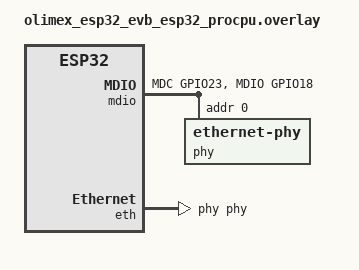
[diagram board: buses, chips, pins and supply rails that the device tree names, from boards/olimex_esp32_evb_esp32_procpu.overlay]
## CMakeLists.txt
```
# @file      CMakeLists.txt
# @brief     mender-mcu FreeRTOS/ESP-IDF example project
#
# Copyright Northern.tech AS
#
# Licensed under the Apache License, Version 2.0 (the "License");
# you may not use this file except in compliance with the License.
# You may obtain a copy of the License at
#
#     http://www.apache.org/licenses/LICENSE-2.0
#
# Unless required by applicable law or agreed to in writing, software
# distributed under the License is distributed on an "AS IS" BASIS,
# WITHOUT WARRANTIES OR CONDITIONS OF ANY KIND, either express or implied.
# See the License for the specific language governing permissions and
# limitations under the License.

# Minimum requirement for ESP-IDF >= 6.0, see
# https://docs.espressif.com/projects/esp-idf/en/latest/esp32/migration-guides/release-6.x/6.0/tools.html
cmake_minimum_required(VERSION 3.22.1)

include($ENV{IDF_PATH}/tools/cmake/project.cmake)
project(mender-mcu-freertos-example)
```

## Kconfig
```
mainmenu "Mender Reference App"

menu "Mender Reference App"

menuconfig WIFI
bool "Mender App WIFI Configuration"
default n

if WIFI
	config MENDER_APP_WIFI_SSID
		string "WIFI SSID - Network name"
		default "my_network"

	config MENDER_APP_WIFI_PSK
		string "WIFI PSK - Network password key"
		default "secret_passwd"

endif # WIFI

	config MENDER_APP_NOOP_UPDATE_MODULE
		bool "Enable no-op Update Module"
		default n
		help
			An Update Module that does nothing. Useful for inspiration on how to get started writing
			your update module, as an alternative to the built-in zephyr-image Update module configured
			with MENDER_ZEPHYR_IMAGE_UPDATE_MODULE

	config MENDER_APP_SERVER_HOST_ON_PREM_CERT
		string "Path to the DER formatted Mender Server Certificate. Relative to mender-mcu-integration"
		default ""
		help
			When in combination with MENDER_SERVER_HOST_ON_PREM, the Mender Reference App
			will add this credential as the MENDER_NET_CA_CERTIFICATE_TAG_PRIMARY.

endmenu

# Region-dependent mbedTLS static heap. The EU server chain anchors to a
# cross-signed ISRG Root YR that the device must verify against the pinned
# RSA-4096 ISRG Root X1; that RSA-4096 signature verify needs ~5 KB more heap
# than the US chain (all RSA-2048). Measured worst-case footprint over a full
# OTA: EU ~43.3 KB, US ~37 KB. Undersizing manifests as a TLS handshake
# failure -0x2700 (X509 NOT_TRUSTED) from an INSUFFICIENT_MEMORY verify.
# So give EU the bigger pool and leave everything else at the historical 40960.
#
# NOTE: this MUST come before `source "Kconfig.zephyr"`. configdefault inserts
# its defaults ahead of the ones that already exist when it is parsed (textual
# order); placed after the source, the symbol's built-in unconditional
# `default 512` is seen first and wins. Parsed before the source, our defaults
# take priority (the MENDER_SERVER_HOST_EU condition still resolves, since
# configdefaults are applied only once the whole tree is known).
configdefault MBEDTLS_HEAP_SIZE
	default 49152 if MENDER_SERVER_HOST_EU
	default 40960

source "Kconfig.zephyr"
```

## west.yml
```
manifest:

  remotes:
    - name: zephyrproject-rtos
      url-base: https://github.com/zephyrproject-rtos
    - name: mender
      url-base: https://github.com/mendersoftware

  projects:
    - name: zephyr
      remote: zephyrproject-rtos
      revision: v4.4.0
      import:
        name-allowlist:
          - cmsis_6
          - mbedtls
          - tf-psa-crypto
          - mcuboot
          - hal_nxp
          - hal_nordic
          - hal_espressif
    - name: mender-mcu
      remote: mender
      revision: v1.1.0
      path: modules/mender-mcu
      import: true

  self:
    path: mender-mcu-integration
```

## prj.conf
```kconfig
####################################
# Tenant Token - DO NOT COMMIT
####################################
CONFIG_MENDER_SERVER_TENANT_TOKEN="..."


####################################
# Mender MCU
####################################
CONFIG_MENDER_MCU_CLIENT=y
CONFIG_MENDER_LOG_LEVEL_INF=y
# Demo polling intervals
CONFIG_MENDER_CLIENT_UPDATE_POLL_INTERVAL=30
CONFIG_MENDER_CLIENT_INVENTORY_REFRESH_INTERVAL=60
CONFIG_MENDER_RETRY_ERROR_BACKOFF=5
CONFIG_MENDER_RETRY_ERROR_MAX_BACKOFF=15
# Mender Server selection - sets the Server URL and adds the certificates
CONFIG_MENDER_SERVER_HOST_US=y
# For easier demo, use partition with storage label from Devicetree
CONFIG_MENDER_STORAGE_PARTITION_STORAGE_PARTITION=y


####################################
# Mbed-TLS module configuration
#
# NOTE wrt Ciphersuite configuration for Hosted Mender:
# We use two certificates, one for API calls and one for the Artifacts download:
# -> Amazon Root CA 1 certificate with Signature Algorithm: sha256WithRSAEncryption
# -> Google Trust Services GTS Root R4 with Signature Algorithm: ecdsa-with-SHA384
####################################
CONFIG_MBEDTLS=y

CONFIG_MBEDTLS_CIPHERSUITE_TLS_ECDHE_ECDSA_WITH_AES_128_GCM_SHA256=y
CONFIG_MBEDTLS_CIPHERSUITE_TLS_ECDHE_ECDSA_WITH_AES_256_GCM_SHA384=y
CONFIG_MBEDTLS_CIPHERSUITE_TLS_ECDHE_RSA_WITH_AES_128_GCM_SHA256=y
CONFIG_MBEDTLS_CIPHERSUITE_TLS_ECDHE_RSA_WITH_AES_256_GCM_SHA384=y

# P-256 (the device auth keypair we generate) and P-384 (Google GTS R4 cert
# chain) are only implied by the ciphersuites; request them so a config change
# cannot drop them.
CONFIG_PSA_WANT_ECC_SECP_R1_256=y
CONFIG_PSA_WANT_ECC_SECP_R1_384=y

# PEM_CERTIFICATE_FORMAT split into PARSE/WRITE in 4.x (client reads + writes keys).
CONFIG_MBEDTLS_PEM_PARSE_C=y
CONFIG_MBEDTLS_PEM_WRITE_C=y
CONFIG_MBEDTLS_PK_WRITE_C=y
CONFIG_MBEDTLS_SSL_SERVER_NAME_INDICATION=y

CONFIG_MBEDTLS_SSL_MAX_CONTENT_LEN=16384
CONFIG_MBEDTLS_ENABLE_HEAP=y
# CONFIG_MBEDTLS_HEAP_SIZE is set per region in this app's Kconfig (EU needs a
# larger static pool for its RSA-4096 cert-verify; see the configdefault there).
CONFIG_MBEDTLS_PSA_CRYPTO_C=y
CONFIG_MBEDTLS_PSA_DRIVER_GET_ENTROPY=y
CONFIG_MBEDTLS_ENTROPY_C=y

# We need to use our own extension to the config file to limit the size of the
# TLS output buffer. See the config and/or MEN-7807 for details.
CONFIG_MBEDTLS_USER_CONFIG_FILE="config-tls-mender.h"


####################################
# Zephyr OS general configuration
####################################
# Default is 1024
# https://docs.zephyrproject.org/latest/kconfig.html#CONFIG_MAIN_STACK_SIZE
CONFIG_MAIN_STACK_SIZE=2048
# Default is 1024
# https://docs.zephyrproject.org/latest/kconfig.html#CONFIG_SYSTEM_WORKQUEUE_STACK_SIZE
CONFIG_SYSTEM_WORKQUEUE_STACK_SIZE=4096
# Default is 4
# https://docs.zephyrproject.org/latest/kconfig.html#CONFIG_ZVFS_OPEN_MAX
CONFIG_ZVFS_OPEN_MAX=5

####################################
# Zephyr logging
####################################
CONFIG_LOG=y
CONFIG_LOG_BUFFER_SIZE=2048
# CONFIG_LOG_MODE_IMMEDIATE=y
CONFIG_LOG_MODE_DEFERRED=y
# flush oldest messages in the buffer; this will print the newest messages in case of buffer overflow
CONFIG_LOG_MODE_OVERFLOW=y
# speed up the logging; size of the executable the victim (use for testing only)
CONFIG_LOG_SPEED=y
# Direct dependency for LOG_OUTPUT_FORMAT_ISO8601_TIMESTAMP
CONFIG_POSIX_C_LANG_SUPPORT_R=y
# use ISO 8601 timestamp format in logs (required by the Mender Deployment Logs feature)
CONFIG_LOG_OUTPUT_FORMAT_ISO8601_TIMESTAMP=y

####################################
# Networking
####################################
# IP / DHCP
CONFIG_NET_IPV6=n
CONFIG_NET_IPV4=y
CONFIG_NET_DHCPV4=y
# Network event notifications
CONFIG_NET_MGMT=y
CONFIG_NET_MGMT_EVENT=y
CONFIG_NET_MGMT_EVENT_STACK_SIZE=2048
# Enable TLS
CONFIG_NET_SOCKETS_SOCKOPT_TLS=y
CONFIG_NET_SOCKETS_TLS_MAX_CONTEXTS=2
CONFIG_NET_MAX_CONN=16
# DNS configuration
CONFIG_DNS_RESOLVER_ADDITIONAL_BUF_CTR=5
CONFIG_DNS_RESOLVER_ADDITIONAL_QUERIES=2
CONFIG_DNS_RESOLVER_MAX_SERVERS=2
CONFIG_DNS_NUM_CONCUR_QUERIES=5
# Avoid timeouts before receiving SYN-ACK from peer at default value (3000)
CONFIG_NET_SOCKETS_CONNECT_TIMEOUT=5000

####################################
# Developer zone
####################################
# Coredumps
# https://docs.zephyrproject.org/latest/services/debugging/coredump.html
# CONFIG_DEBUG_COREDUMP=y
# CONFIG_DEBUG_COREDUMP_BACKEND_LOGGING=y
# CONFIG_DEBUG_COREDUMP_MEMORY_DUMP_LINKER_RAM=n
# CONFIG_DEBUG_COREDUMP_MEMORY_DUMP_MIN=y
# Asserts
# https://docs.zephyrproject.org/latest/kconfig.html#CONFIG_ASSERT_VERBOSE
CONFIG_ASSERT=y
# CONFIG_ASSERT_VERBOSE=y
# CONFIG_PICOLIBC_USE_MODULE=y
# CONFIG_PICOLIBC_ASSERT_VERBOSE=y
# Useful logs from networking subsystem
CONFIG_NET_LOG=y

# Let's prevent surprises caused by type mismatches and other similar things
# only causing compilation warnings, but potentially leading to fatal issues.
CONFIG_COMPILER_WARNINGS_AS_ERRORS=y

# When enabled it adds ~3k overhead and causes sys_reboot to fail
# because of stricter spinlock validation in Zephyr 4.2.0
CONFIG_SPIN_VALIDATE=n
```

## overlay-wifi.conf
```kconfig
CONFIG_WIFI=y
CONFIG_MENDER_APP_WIFI_SSID="..."
CONFIG_MENDER_APP_WIFI_PSK="..."
```

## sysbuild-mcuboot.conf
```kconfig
# Sysbuild configuration file: enable MCUboot
SB_CONFIG_BOOTLOADER_MCUBOOT=y
# Enable swap algorithm so we can revert in
# case of a rollback
SB_CONFIG_MCUBOOT_MODE_SWAP_USING_MOVE=y
```

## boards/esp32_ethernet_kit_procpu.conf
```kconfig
####################################
# ESP32 Ethernet
####################################
CONFIG_ETH_ESP32=y
CONFIG_NET_L2_ETHERNET=y

# Linking errors when enabled
CONFIG_ESP_SPIRAM=n
```

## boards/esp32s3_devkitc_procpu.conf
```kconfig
CONFIG_NET_L2_ETHERNET=y
CONFIG_ESP32_WIFI_STA_AUTO_DHCPV4=y
CONFIG_WIFI=y
CONFIG_WIFI_LOG_LEVEL_ERR=y

# Restore the default for Mender storage
# We set to use the storage label for the rest of the boards in this sample application,
# but for the ESP32S3 we do provide an overlay to use the mender label, which is what
# we recommend to users (and set as default in mender-mcu Kconfig)
CONFIG_MENDER_STORAGE_PARTITION_STORAGE_PARTITION=n
CONFIG_MENDER_STORAGE_PARTITION_MENDER_PARTITION=y
```

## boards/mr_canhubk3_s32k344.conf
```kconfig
####################################
# Replace default Update Module
####################################
CONFIG_MENDER_ZEPHYR_IMAGE_UPDATE_MODULE=n
CONFIG_MENDER_APP_NOOP_UPDATE_MODULE=y

####################################
# Use test RNG_GENERATOR
####################################
CONFIG_TEST_RANDOM_GENERATOR=y
```

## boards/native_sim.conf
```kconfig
####################################
# Native sim
####################################
CONFIG_MENDER_ZEPHYR_IMAGE_UPDATE_MODULE=n
CONFIG_MENDER_APP_NOOP_UPDATE_MODULE=y
CONFIG_MENDER_ARTIFACT_GENERATE=n
```

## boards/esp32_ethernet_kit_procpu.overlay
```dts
&eth {
       status = "okay";
};

&phy {
       status = "okay";
};

&mdio {
       status = "okay";
};
```

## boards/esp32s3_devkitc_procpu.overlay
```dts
&wifi {
	status = "okay";
};

&flash0 {
	partitions {
		compatible = "fixed-partitions";
		#address-cells = <1>;
		#size-cells = <1>;

		/*
		  An extra partition starting right after the last partition defined in
		  the board's device tree (actually shared by 8M Espressif boards, at
		  zephyr/dts/common/espressif/partitions_0x0_default_8M.dtsi).
		  WARNING: Needs to be made bigger if more sectors or a non-zero sector
		           offset are to be used.
		*/
		mender_partition: partition@7F1000 {
			label = "mender-partition";
			reg = <0x7F1000 DT_SIZE_K(16)>;
		};
	};
};
```

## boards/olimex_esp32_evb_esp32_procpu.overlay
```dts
&mdio {
    pinctrl-0 = <&mdio_default>;
    pinctrl-names = "default";

    phy: ethernet-phy@0 {
        compatible = "ethernet-phy";
        status = "okay";
        reg = <0>;
    };
    status = "okay";
};

&phy {
    status = "okay";
};

&eth {
    phy-handle = <&phy>;
    status = "okay";
};

&pinctrl {
    mdio_default: mdio_default {
        group1 {
            pinmux = <SMI_MDC_GPIO23>,
                 <SMI_MDIO_GPIO18>;
        };
    };
};
```

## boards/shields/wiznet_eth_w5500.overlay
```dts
/* This overlay is based on ARCELI W5500 ETH,
 * changing the pinout for the WIZNet produced shield.
 *
 * See schematic at:
 * https://docs.wiznet.io/Product/Open-Source-Hardware/w5500_ethernet_shield#technical-reference
 */

&arduino_spi {
	status = "okay";

	eth_w5500_arceli_eth_w5500: eth_w5500@0 {
		compatible = "wiznet,w5500";
		reg = <0x0>;
		spi-max-frequency = <14000000>;
		int-gpios = <&arduino_header 8 GPIO_ACTIVE_LOW>;	/* D2 */

		/* *************************** */
		/* Write here your MAC address */
		/* *************************** */
		local-mac-address = [ DE AD BE EF FE ED ];
	};
};
```

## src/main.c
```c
// Copyright 2024 Northern.tech AS
//
//    Licensed under the Apache License, Version 2.0 (the "License");
//    you may not use this file except in compliance with the License.
//    You may obtain a copy of the License at
//
//        http://www.apache.org/licenses/LICENSE-2.0
//
//    Unless required by applicable law or agreed to in writing, software
//    distributed under the License is distributed on an "AS IS" BASIS,
//    WITHOUT WARRANTIES OR CONDITIONS OF ANY KIND, either express or implied.
//    See the License for the specific language governing permissions and
//    limitations under the License.

#include <zephyr/logging/log.h>
LOG_MODULE_REGISTER(mender_app, LOG_LEVEL_DBG);

#include "utils/callbacks.h"
#include "utils/netup.h"
#include "utils/certs.h"

#include <zephyr/kernel.h>
#include <zephyr/sys/reboot.h>

#include <mender/utils.h>
#include <mender/client.h>
#include <mender/inventory.h>

#ifdef BUILD_INTEGRATION_TESTS
#include "modules/test-update-module.h"
#include "test_definitions.h"
#endif /* BUILD_INTEGRATION_TESTS */

#ifdef CONFIG_MENDER_ZEPHYR_IMAGE_UPDATE_MODULE
#include <mender/zephyr-image-update-module.h>
#endif /* CONFIG_MENDER_ZEPHYR_IMAGE_UPDATE_MODULE */

#ifdef CONFIG_MENDER_APP_NOOP_UPDATE_MODULE
#include "modules/noop-update-module.h"
#endif /* CONFIG_MENDER_APP_NOOP_UPDATE_MODULE */

#ifdef CONFIG_MENDER_CLIENT_INVENTORY_DISABLE
#error Mender MCU integration app requires the inventory feature
#endif /* CONFIG_MENDER_CLIENT_INVENTORY_DISABLE */

MENDER_FUNC_WEAK mender_err_t
mender_network_connect_cb(void) {
    LOG_DBG("network_connect_cb");
    return MENDER_OK;
}

MENDER_FUNC_WEAK mender_err_t
mender_network_release_cb(void) {
    LOG_DBG("network_release_cb");
    return MENDER_OK;
}

MENDER_FUNC_WEAK mender_err_t
mender_deployment_status_cb(mender_deployment_status_t status, const char *desc) {
    LOG_DBG("deployment_status_cb: %s", desc);
    return MENDER_OK;
}

MENDER_FUNC_WEAK mender_err_t
mender_restart_cb(void) {
    LOG_DBG("restart_cb");

    sys_reboot(SYS_REBOOT_WARM);

    return MENDER_OK;
}

static char              mac_address[18] = { 0 };
static mender_identity_t mender_identity = { .name = "mac", .value = mac_address };

MENDER_FUNC_WEAK mender_err_t
mender_get_identity_cb(const mender_identity_t **identity) {
    LOG_DBG("get_identity_cb");
    if (NULL != identity) {
        *identity = &mender_identity;
        return MENDER_OK;
    }
    return MENDER_FAIL;
}

static mender_err_t
persistent_inventory_cb(mender_keystore_t **keystore, uint8_t *keystore_len) {
    static mender_keystore_t inventory[] = { { .name = "App", .value = "mender-mcu-integration" } };
    *keystore                            = inventory;
    *keystore_len                        = 1;
    return MENDER_OK;
}

int
main(void) {
    printf("Hello World! %s %s\n", CONFIG_MENDER_ARTIFACT_NAME,CONFIG_BOARD_TARGET);

    netup_wait_for_network();

    netup_get_mac_address(mender_identity.value);

    certs_add_credentials();

    /* Initialize mender-client */
    mender_client_config_t    mender_client_config    = { .device_type = CONFIG_MENDER_DEVICE_TYPE, .recommissioning = false };
    mender_client_callbacks_t mender_client_callbacks = { .network_connect        = mender_network_connect_cb,
                                                          .network_release        = mender_network_release_cb,
                                                          .deployment_status      = mender_deployment_status_cb,
                                                          .restart                = mender_restart_cb,
                                                          .get_identity           = mender_get_identity_cb,
                                                          .get_user_provided_keys = NULL };

    LOG_INF("Initializing Mender Client with:");
    LOG_INF("   Device type:   '%s'", mender_client_config.device_type);
    LOG_INF("   Identity:      '{\"%s\": \"%s\"}'", mender_identity.name, mender_identity.value);

    if (MENDER_OK != mender_client_init(&mender_client_config, &mender_client_callbacks)) {
        LOG_ERR("Failed to initialize the client");
        goto END;
    }
    LOG_INF("Mender client initialized");

#ifdef CONFIG_MENDER_ZEPHYR_IMAGE_UPDATE_MODULE
    if (MENDER_OK != mender_zephyr_image_register_update_module()) {
        LOG_ERR("Failed to register the zephyr-image Update Module");
        goto END;
    }
    LOG_INF("Update Module 'zephyr-image' initialized");
#endif /* CONFIG_MENDER_ZEPHYR_IMAGE_UPDATE_MODULE */

#ifdef CONFIG_MENDER_APP_NOOP_UPDATE_MODULE
    if (MENDER_OK != noop_update_module_register()) {
        LOG_ERR("Failed to register the noop Update Module");
        goto END;
    }
    LOG_INF("Update Module 'noop-update' initialized");
#endif /* CONFIG_MENDER_APP_NOOP_UPDATE_MODULE */

#ifdef BUILD_INTEGRATION_TESTS
    if (MENDER_OK != test_update_module_register()) {
        LOG_ERR("Failed to register the test Update Module");
        goto END;
    }
    LOG_INF("Update Module 'test-update' initialized");
#endif /* BUILD_INTEGRATION_TESTS */

    if (MENDER_OK != mender_inventory_add_callback(persistent_inventory_cb, true)) {
        LOG_ERR("Failed to add inventory callback");
        goto END;
    }
    LOG_INF("Mender inventory callback added");

    /* Finally activate mender client */
    if (MENDER_OK != mender_client_activate()) {
        LOG_ERR("Unable to activate the client");
        goto END;
    }
    LOG_INF("Mender client activated and running!");

END:
    k_sleep(K_FOREVER);

    return 0;
}
```

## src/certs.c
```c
// Copyright 2024 Northern.tech AS
//
//    Licensed under the Apache License, Version 2.0 (the "License");
//    you may not use this file except in compliance with the License.
//    You may obtain a copy of the License at
//
//        http://www.apache.org/licenses/LICENSE-2.0
//
//    Unless required by applicable law or agreed to in writing, software
//    distributed under the License is distributed on an "AS IS" BASIS,
//    WITHOUT WARRANTIES OR CONDITIONS OF ANY KIND, either express or implied.
//    See the License for the specific language governing permissions and
//    limitations under the License.

#include "certs.h"

#include <stddef.h>

#include <zephyr/net/tls_credentials.h>

#if defined(CONFIG_NET_SOCKETS_SOCKOPT_TLS)
static const unsigned char ca_certificate_amazon[] = {
#include "AmazonRootCA1.cer.inc"
};
static const unsigned char ca_certificate_cloudflare[] = {
#include "r2.cloudflarestorage.com1.crt.inc"
};
#endif

int
certs_add_credentials() {
    int ret = 0;

#if defined(CONFIG_NET_SOCKETS_SOCKOPT_TLS)
    ret = tls_credential_add(CONFIG_MENDER_NET_CA_CERTIFICATE_TAG_PRIMARY, TLS_CREDENTIAL_CA_CERTIFICATE, ca_certificate_amazon, sizeof(ca_certificate_amazon));
    if (ret != 0) {
        return ret;
    }
    ret = tls_credential_add(
        CONFIG_MENDER_NET_CA_CERTIFICATE_TAG_SECONDARY, TLS_CREDENTIAL_CA_CERTIFICATE, ca_certificate_cloudflare, sizeof(ca_certificate_cloudflare));
#endif

    return ret;
}
```

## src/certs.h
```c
// Copyright 2024 Northern.tech AS
//
//    Licensed under the Apache License, Version 2.0 (the "License");
//    you may not use this file except in compliance with the License.
//    You may obtain a copy of the License at
//
//        http://www.apache.org/licenses/LICENSE-2.0
//
//    Unless required by applicable law or agreed to in writing, software
//    distributed under the License is distributed on an "AS IS" BASIS,
//    WITHOUT WARRANTIES OR CONDITIONS OF ANY KIND, either express or implied.
//    See the License for the specific language governing permissions and
//    limitations under the License.

#ifndef __CERTS_H__
#define __CERTS_H__

#ifdef __cplusplus
extern "C" {
#endif /* __cplusplus */

/**
 * @brief Install TLS credentials for Hosted Mender setup
 * @return return 0 on success, -EACCES, -ENOMEM or -EEXIST on error
 * @note See https://docs.zephyrproject.org/3.7.0/doxygen/html/group__tls__credentials.html#ga640ff6dd3eb4d5017feaab6fab2bb2f7
 */
int certs_add_credentials();

#ifdef __cplusplus
}
#endif /* __cplusplus */

#endif /* __CERTS_H__ */
```

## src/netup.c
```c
// Copyright 2024 Northern.tech AS
//
//    Licensed under the Apache License, Version 2.0 (the "License");
//    you may not use this file except in compliance with the License.
//    You may obtain a copy of the License at
//
//        http://www.apache.org/licenses/LICENSE-2.0
//
//    Unless required by applicable law or agreed to in writing, software
//    distributed under the License is distributed on an "AS IS" BASIS,
//    WITHOUT WARRANTIES OR CONDITIONS OF ANY KIND, either express or implied.
//    See the License for the specific language governing permissions and
//    limitations under the License.

#include <zephyr/logging/log.h>
LOG_MODULE_DECLARE(mender_app, LOG_LEVEL_DBG);

/* This piece of code is heavily inspired by Zephyr OS project sample:
 * https://github.com/zephyrproject-rtos/zephyr/tree/v3.7.0/samples/net/dhcpv4_client
 *
 * The main entry point, netup_wait_for_network, will set up the callbacks for the network
 * management and wait for a the device to obtain a v4 IP address. The wait is controlled with
 * a simple semaphore. */

#include <assert.h>

#include <zephyr/kernel.h>
#include <zephyr/net/net_if.h>
#include <zephyr/net/net_mgmt.h>

K_SEM_DEFINE(network_ready_sem, 0, 1);

static struct net_mgmt_event_callback mgmt_cb;

static void
event_handler(struct net_mgmt_event_callback *cb, uint32_t mgmt_event, struct net_if *iface) {
    int i = 0;

    if (mgmt_event != NET_EVENT_IPV4_ADDR_ADD) {
        return;
    }

    for (i = 0; i < NET_IF_MAX_IPV4_ADDR; i++) {
        char buf[NET_IPV4_ADDR_LEN];

        if (iface->config.ip.ipv4->unicast[i].ipv4.addr_type != NET_ADDR_DHCP) {
            continue;
        }

        LOG_INF("   Address[%d]: %s",
                net_if_get_by_iface(iface),
                net_addr_ntop(AF_INET, &iface->config.ip.ipv4->unicast[i].ipv4.address.in_addr, buf, sizeof(buf)));
        LOG_INF("    Subnet[%d]: %s", net_if_get_by_iface(iface), net_addr_ntop(AF_INET, &iface->config.ip.ipv4->unicast[i].netmask, buf, sizeof(buf)));
        LOG_INF("    Router[%d]: %s", net_if_get_by_iface(iface), net_addr_ntop(AF_INET, &iface->config.ip.ipv4->gw, buf, sizeof(buf)));
        LOG_INF("Lease time[%d]: %u seconds", net_if_get_by_iface(iface), iface->config.dhcpv4.lease_time);
    }

    // Network is up \o/
    k_sem_give(&network_ready_sem);
}

int
netup_wait_for_network() {
    int ret = 0;

    net_mgmt_init_event_callback(&mgmt_cb, event_handler, NET_EVENT_IPV4_ADDR_ADD);
    net_mgmt_add_event_callback(&mgmt_cb);

    /* Assume that there is only one network interface, having two or more will just pick up
    the default and and continue blindly */
    struct net_if *iface = net_if_get_default();
    LOG_INF("Using net interface %s, index=%d", net_if_get_device(iface)->name, net_if_get_by_iface(iface));

    net_dhcpv4_start(iface);

    // Wait for network
    LOG_INF("Waiting for network up...");
    return k_sem_take(&network_ready_sem, K_FOREVER);
}

void
netup_get_mac_address(char *address) {
    assert(NULL != address);

    struct net_if *iface    = net_if_get_first_up();
    assert(NULL != iface);

    struct net_linkaddr *linkaddr = net_if_get_link_addr(iface);
    assert(NULL != linkaddr);

    snprintf(address,
             18,
             "%02x:%02x:%02x:%02x:%02x:%02x",
             linkaddr->addr[0],
             linkaddr->addr[1],
             linkaddr->addr[2],
             linkaddr->addr[3],
             linkaddr->addr[4],
             linkaddr->addr[5]);
}
```
